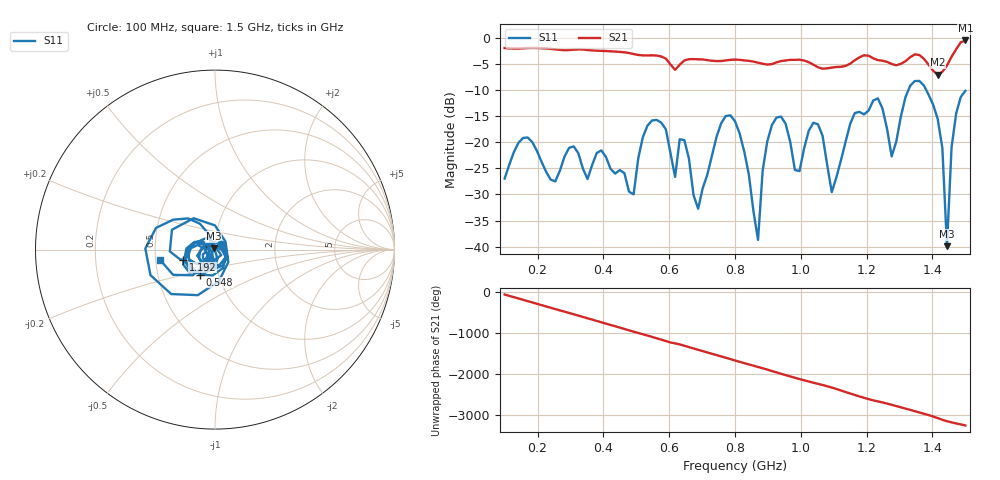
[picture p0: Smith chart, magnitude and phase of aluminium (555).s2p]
! NanoVNA-App
! Date: 2025-09-25 14:59:36
! Start: 100MHz Stop: 1,5GHz Points: 101
! S-Parameter data: F S11 S21 S12 S22
# Hz S RI R 50
!  Frequency  S11_Real  S11_Imag  S21_Real  S21_Imag  S12_Real  S12_Imag  S22_Real  S22_Imag
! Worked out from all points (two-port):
!   101 points, 100 MHz to 1.5 GHz, reference 50 ohm
!   highest |S21| = -0.46 dB at 1.5 GHz (marker M1); lowest = -7.0 dB at 1.416 GHz (marker M2)
!   |S21| within 3 dB of the highest: start of sweep to 570.5 MHz; 1.459 GHz to end of sweep (the widest 2 of 4)
!   lowest |S11| = -39.9 dB at 1.444 GHz (marker M3), VSWR 1.02, Z = 49.3 + j0.675 ohm
!   |S11| at or under -10 dB: start of sweep to 1.327 GHz; 1.381 GHz to end of sweep
!   S12 and S22 are empty: the file has one direction only
!   S11 on the Smith chart (normalised r, x): 100 MHz: 1.07, +0.06; 548 MHz: 0.82, -0.23; 1.192 GHz: 0.70, -0.08; 1.5 GHz: 0.53, -0.07
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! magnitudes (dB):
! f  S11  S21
! 100 MHz  -27.0  -1.9
! 156 MHz  -19.2  -2.0
! 338 MHz  -25.1  -2.2
! 492 MHz  -30.0  -3.1
! 548 MHz  -15.8  -3.3
! 576 MHz  -16.2  -3.5
! 646 MHz  -19.6  -4.3
! 688 MHz  -32.7  -4.1
! 800 MHz  -16.0  -4.1
! 870 MHz  -38.7  -4.7
! 912 MHz  -16.7  -5.0
! 996 MHz  -25.5  -4.2
! 1.038 GHz  -16.2  -5.1
! 1.094 GHz  -29.5  -5.7
! 1.192 GHz  -14.6  -3.3
! 1.234 GHz  -11.6  -4.2
! 1.276 GHz  -22.7  -5.0
! 1.346 GHz  -8.3  -3.1
! 1.416 GHz  -15.6  -7.0
! 1.444 GHz  -39.9  -5.3
! 1.458 GHz  -20.9  -3.6
! 1.5 GHz  -10.1  -0.5
